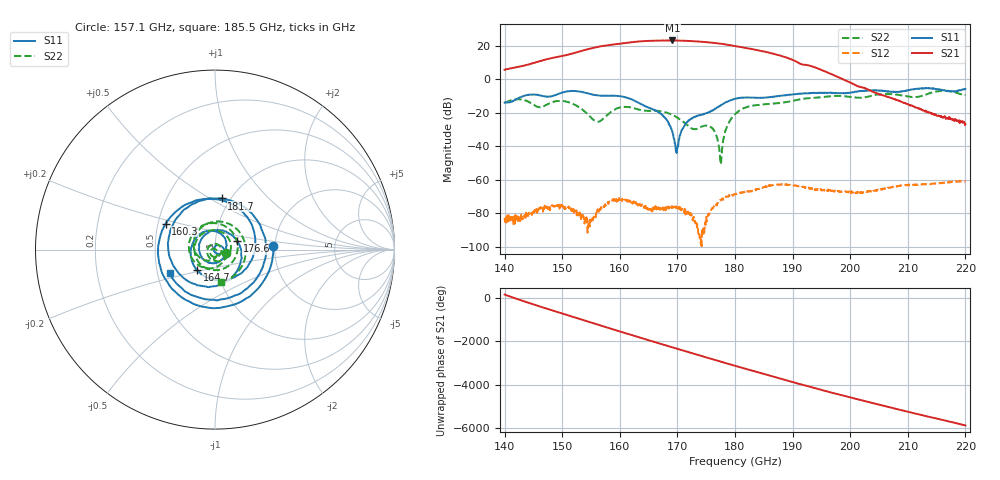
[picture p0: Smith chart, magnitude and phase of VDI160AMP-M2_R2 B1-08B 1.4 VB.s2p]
!Keysight Technologies,N5222B,MY56022597,A.18.40.03
!Date: Tuesday, March 31, 2026 11:05:40
!Correction: S11(C  2-Port  )
!S21(C  2-Port  )
!S12(C  2-Port  )
!S22(C  2-Port  )
!S2P File: Measurements: S11, S21, S12, S22:
# Hz S  RI  R 50
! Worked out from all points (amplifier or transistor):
!   1201 points, 140 GHz to 220 GHz, reference 50 ohm
!   highest |S21| = 23.3 dB at 169.1 GHz (marker M1)
!   |S21| within 3 dB of that: 157.6 GHz to 179.5 GHz (21.91 GHz wide, 13 % of centre)
!   unconditionally stable (mu >= 1): start of sweep to end of sweep
!   at 153.3 GHz: K = 633.80, MAG = 17.9 dB, |S12| = -80.9 dB
!   at 180 GHz: K = 125.00, MAG = 20.3 dB, |S12| = -68.6 dB
!   at 220 GHz: K = 8123.59, MAG = -25.0 dB, |S12| = -61.1 dB
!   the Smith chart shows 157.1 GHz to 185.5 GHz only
!   S11 on the Smith chart (normalised r, x): 157.1 GHz: 1.96, +0.09; 160.3 GHz: 0.55, +0.18; 164.7 GHz: 0.80, -0.18; 176.6 GHz: 1.28, +0.13; 181.7 GHz: 0.91, +0.57; 185.5 GHz: 0.58, -0.17
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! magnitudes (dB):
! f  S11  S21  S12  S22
! 140 GHz  -13.9  5.8  -82.9  -13.9
! 146.1 GHz  -9.6  10.9  -77.5  -16.7
! 149.1 GHz  -9.1  13.4  -75.6  -13.0
! 153.4 GHz  -7.5  17.0  -81.2  -17.8
! 155.7 GHz  -9.4  19.1  -81.4  -24.8
! 157.1 GHz  -9.8  20.0  -76.3  -23.6
! 160.3 GHz  -10.2  21.4  -72.2  -16.6
! 164.7 GHz  -16.4  22.9  -76.8  -18.8
! 166.7 GHz  -19.5  23.2  -77.6  -18.8
! 169.1 GHz  -31.6  23.3  -76.6  -21.2
! 169.9 GHz  -41.4  23.2  -77.2  -22.7
! 171.8 GHz  -25.2  23.0  -79.2  -27.6
! 175.3 GHz  -20.0  22.2  -81.9  -27.7
! 176.6 GHz  -17.4  21.7  -75.3  -32.2
! 177.6 GHz  -15.3  21.3  -72.2  -49.1
! 178.5 GHz  -13.4  20.8  -70.1  -28.9
! 180 GHz  -11.6  19.9  -68.6  -20.8
! 181.7 GHz  -10.8  18.9  -67.2  -17.0
! 185.5 GHz  -10.9  16.3  -64.1  -14.8
! 193.4 GHz  -8.2  7.7  -65.1  -11.1
! 206.7 GHz  -7.2  -10.6  -64.8  -8.8
! 220 GHz  -5.7  -26.9  -61.1  -9.5
